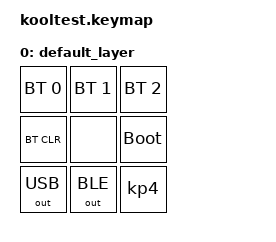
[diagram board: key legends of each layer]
#include <behaviors.dtsi>
#include <dt-bindings/zmk/keys.h>
#include <dt-bindings/zmk/bt.h>
#include <dt-bindings/zmk/outputs.h>

/ {
    keymap {
        compatible = "zmk,keymap";

        default_layer {
            bindings = <
                &bt BT_SEL 0    &bt BT_SEL 1    &bt BT_SEL 2
                &bt BT_CLR      &none           &bootloader
                &out OUT_USB    &out OUT_BLE    &kp KP_N4
            >;
        };
    };
};

zephyr_udc0: &usbd {
    status = "okay";
};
